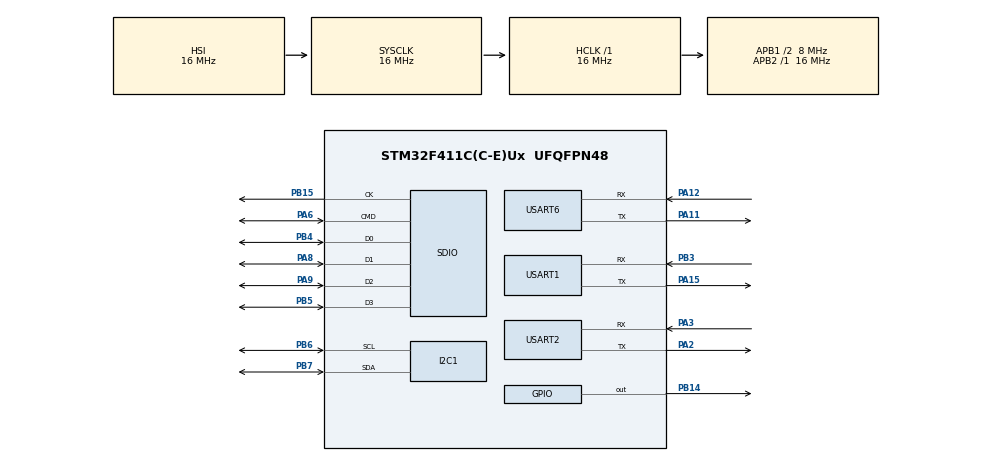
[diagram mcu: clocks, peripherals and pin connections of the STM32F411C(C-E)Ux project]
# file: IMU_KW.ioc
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Dma.Request0=SDIO_RX
Dma.Request1=SDIO_TX
Dma.Request2=USART2_RX
Dma.SDIO_RX.0.Direction=DMA_PERIPH_TO_MEMORY
Dma.SDIO_RX.0.FIFOMode=DMA_FIFOMODE_ENABLE
Dma.SDIO_RX.0.FIFOThreshold=DMA_FIFO_THRESHOLD_FULL
Dma.SDIO_RX.0.Instance=DMA2_Stream3
Dma.SDIO_RX.0.MemBurst=DMA_MBURST_INC4
Dma.SDIO_RX.0.MemDataAlignment=DMA_MDATAALIGN_WORD
Dma.SDIO_RX.0.MemInc=DMA_MINC_ENABLE
Dma.SDIO_RX.0.Mode=DMA_PFCTRL
Dma.SDIO_RX.0.PeriphBurst=DMA_PBURST_INC4
Dma.SDIO_RX.0.PeriphDataAlignment=DMA_PDATAALIGN_WORD
Dma.SDIO_RX.0.PeriphInc=DMA_PINC_DISABLE
Dma.SDIO_RX.0.Priority=DMA_PRIORITY_LOW
Dma.SDIO_TX.1.Direction=DMA_MEMORY_TO_PERIPH
Dma.SDIO_TX.1.FIFOMode=DMA_FIFOMODE_ENABLE
Dma.SDIO_TX.1.FIFOThreshold=DMA_FIFO_THRESHOLD_FULL
Dma.SDIO_TX.1.Instance=DMA2_Stream6
Dma.SDIO_TX.1.MemBurst=DMA_MBURST_INC4
Dma.SDIO_TX.1.MemDataAlignment=DMA_MDATAALIGN_WORD
Dma.SDIO_TX.1.MemInc=DMA_MINC_ENABLE
Dma.SDIO_TX.1.Mode=DMA_PFCTRL
Dma.SDIO_TX.1.PeriphBurst=DMA_PBURST_INC4
Dma.SDIO_TX.1.PeriphDataAlignment=DMA_PDATAALIGN_WORD
Dma.SDIO_TX.1.PeriphInc=DMA_PINC_DISABLE
Dma.SDIO_TX.1.Priority=DMA_PRIORITY_LOW
Dma.USART2_RX.2.Direction=DMA_PERIPH_TO_MEMORY
Dma.USART2_RX.2.FIFOMode=DMA_FIFOMODE_DISABLE
Dma.USART2_RX.2.Instance=DMA1_Stream5
Dma.USART2_RX.2.MemDataAlignment=DMA_MDATAALIGN_BYTE
Dma.USART2_RX.2.MemInc=DMA_MINC_ENABLE
Dma.USART2_RX.2.Mode=DMA_CIRCULAR
Dma.USART2_RX.2.PeriphDataAlignment=DMA_PDATAALIGN_BYTE
Dma.USART2_RX.2.PeriphInc=DMA_PINC_DISABLE
Dma.USART2_RX.2.Priority=DMA_PRIORITY_LOW
FATFS._MAX_SS=4096
FREERTOS.Tasks01=defaultTask,0,128,StartDefaultTask,Default,NULL
FREERTOS.configTICK_RATE_HZ=1000
Mcu.Family=STM32F4
Mcu.Name=STM32F411C(C-E)Ux
Mcu.Package=UFQFPN48
NVIC.DMA1_Stream5_IRQn=true\:5\:0\:false\:false\:true\:true\:false\:true
NVIC.DMA2_Stream3_IRQn=true\:5\:0\:false\:false\:true\:true\:false\:true
NVIC.DMA2_Stream6_IRQn=true\:5\:0\:false\:false\:true\:true\:false\:true
NVIC.PriorityGroup=NVIC_PRIORITYGROUP_4
NVIC.SDIO_IRQn=true\:5\:0\:false\:false\:true\:true\:true\:true
NVIC.TIM4_IRQn=true\:5\:0\:false\:false\:true\:true\:true\:true
NVIC.TIM5_IRQn=true\:0\:0\:false\:false\:true\:false\:false\:true
NVIC.TimeBase=TIM5_IRQn
NVIC.TimeBaseIP=TIM5
NVIC.USART1_IRQn=true\:5\:0\:false\:false\:true\:true\:true\:true
NVIC.USART2_IRQn=true\:5\:0\:false\:false\:true\:true\:true\:true
PA11.Mode=Asynchronous
PA11.Signal=USART6_TX
PA12.Mode=Asynchronous
PA12.Signal=USART6_RX
PA15.Mode=Asynchronous
PA15.Signal=USART1_TX
PA2.Mode=Asynchronous
PA2.Signal=USART2_TX
PA3.Mode=Asynchronous
PA3.Signal=USART2_RX
PA6.GPIO_PuPd=GPIO_PULLUP
PA6.Mode=SD_4_bits_Wide_bus
PA6.Signal=SDIO_CMD
PA8.GPIO_PuPd=GPIO_PULLUP
PA8.Mode=SD_4_bits_Wide_bus
PA8.Signal=SDIO_D1
PA9.GPIO_PuPd=GPIO_PULLUP
PA9.Mode=SD_4_bits_Wide_bus
PA9.Signal=SDIO_D2
PB14.Signal=GPIO_Output
PB15.Mode=SD_4_bits_Wide_bus
PB15.Signal=SDIO_CK
PB3.Mode=Asynchronous
PB3.Signal=USART1_RX
PB4.GPIO_PuPd=GPIO_PULLUP
PB4.Mode=SD_4_bits_Wide_bus
PB4.Signal=SDIO_D0
PB5.GPIO_PuPd=GPIO_PULLUP
PB5.Mode=SD_4_bits_Wide_bus
PB5.Signal=SDIO_D3
PB6.Mode=I2C
PB6.Signal=I2C1_SCL
PB7.Mode=I2C
PB7.Signal=I2C1_SDA
PH0\ -\ OSC_IN.Mode=HSE-External-Oscillator
PH0\ -\ OSC_IN.Signal=RCC_OSC_IN
PH1\ -\ OSC_OUT.Mode=HSE-External-Oscillator
PH1\ -\ OSC_OUT.Signal=RCC_OSC_OUT
ProjectManager.HeapSize=0x200
ProjectManager.StackSize=0x400
ProjectManager.TargetToolchain=MDK-ARM V5
RCC.48MHZClocksFreq_Value=42666666.666666664
RCC.AHBFreq_Value=16000000
RCC.APB1CLKDivider=RCC_HCLK_DIV2
RCC.APB1Freq_Value=8000000
RCC.APB1TimFreq_Value=16000000
RCC.APB2Freq_Value=16000000
RCC.APB2TimFreq_Value=16000000
RCC.CortexFreq_Value=16000000
RCC.HCLKFreq_Value=16000000
RCC.HSE_VALUE=8000000
RCC.HSI_VALUE=16000000
RCC.LSE_VALUE=32768
RCC.PLLM=8
RCC.PLLN=64
RCC.PLLQ=3
RCC.SYSCLKFreq_VALUE=16000000
RCC.VCOOutputFreq_Value=128000000
SDIO.ClockDiv=3
TIM4.Period=10-1
TIM4.Prescaler=1600-1
TIM4.TIM_MasterOutputTrigger=TIM_TRGO_UPDATE
USART1.VirtualMode=VM_ASYNC
USART2.VirtualMode=VM_ASYNC
USART6.VirtualMode=VM_ASYNC
VP_CRC_VS_CRC.Mode=CRC_Activate
VP_FATFS_VS_SDIO.Mode=SDIO
VP_FREERTOS_VS_CMSIS_V1.Mode=CMSIS_V1
VP_SYS_VS_tim5.Mode=TIM5
VP_TIM4_VS_ClockSourceINT.Mode=Internal
board=custom

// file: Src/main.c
/* USER CODE BEGIN Header */
/**
  ******************************************************************************
  * @file           : main.c
  * @brief          : Main program body
  ******************************************************************************
  * @attention
  *
  * <h2><center>&copy; Copyright (c) 2020 STMicroelectronics.
  * All rights reserved.</center></h2>
  *
  * This software component is licensed by ST under Ultimate Liberty license
  * SLA0044, the "License"; You may not use this file except in compliance with
  * the License. You may obtain a copy of the License at:
  *                             www.st.com/SLA0044
  *
  ******************************************************************************
  */
/* USER CODE END Header */

#include "main.h"
#include "cmsis_os.h"
#include "fatfs.h"

/* USER CODE BEGIN Includes */
#include <stdio.h>
#include <string.h>
#include <stdbool.h>
/* USER CODE END Includes */

/* USER CODE BEGIN PD */
	#define MPU9250_ADDRESS	0xD2
	#define AK8963_ADDRESS   0x0C<<1
	#define AK8963_ST1       0x02  // data ready status bit 0
	#define AK8963_XOUT_L    0x03  // data
	#define ACCEL_XOUT_H     0x3B
	#define GYRO_XOUT_H      0x43
	#define AK8963_CNTL      0x0A  // Power down (0000), single-measurement (0001), self-test (1000) and Fuse ROM (1111) modes on bits 3:0
	#define ACCEL_CONFIG     0x1C
	#define CONFIG           0x1A
	#define INT_PIN_CFG      0x37
	#define INT_ENABLE       0x38
	#define ACCEL_CONFIG2    0x1D
	#define GYRO_CONFIG      0x1B
	#define SMPLRT_DIV       0x19
	#define PWR_MGMT_1       0x6B // Device defaults to the SLEEP mode
	#define PWR_MGMT_2       0x6C
enum Ascale {
  AFS_2G = 0,
  AFS_4G,
  AFS_8G,
  AFS_16G
};
enum Gscale {
  GFS_250DPS = 0,
  GFS_500DPS,
  GFS_1000DPS,
  GFS_2000DPS
};

/* USER CODE END PD */

CRC_HandleTypeDef hcrc;

I2C_HandleTypeDef hi2c1;

SD_HandleTypeDef hsd;
DMA_HandleTypeDef hdma_sdio_rx;
DMA_HandleTypeDef hdma_sdio_tx;

TIM_HandleTypeDef htim4;

UART_HandleTypeDef huart1;
UART_HandleTypeDef huart2;
UART_HandleTypeDef huart6;
DMA_HandleTypeDef hdma_usart2_rx;

osThreadId defaultTaskHandle;

void SystemClock_Config(void);
static void MX_GPIO_Init(void);
static void MX_DMA_Init(void);
static void MX_USART1_UART_Init(void);
static void MX_USART2_UART_Init(void);
static void MX_SDIO_SD_Init(void);
static void MX_TIM4_Init(void);
static void MX_USART6_UART_Init(void);
static void MX_CRC_Init(void);
static void MX_I2C1_Init(void);
void StartDefaultTask(void const * argument);

/* USER CODE BEGIN 0 */
	int16_t acc_x,acc_y,acc_z;
	int16_t gy_x,gy_y,gy_z;
	int16_t mag_x,mag_y,mag_z;

	uint8_t txdata[24]; // FFFF ----  2 x 9 = 18 bytes ---- FFFE(4) + CRC(2) == 24 bytes
	uint8_t i2cBuf[7];
	uint8_t Imu_dataBuf[18] = {0,};

	//crc
	uint32_t crcArray[8] = {0,};
	uint32_t crcArrayt[8] = {0,};

	uint16_t crcval = 0;
	uint32_t crcval2 = 0;
	//test
	uint32_t crc_test =0;

	//SD card variables
	extern char SDPath[4];   /* SD logical drive path */
	extern FATFS SDFatFS;    /* File system object for SD logical drive */
	extern FIL SDFile;       /* File object for SD */

	//FILE I/O operation

	FRESULT res;                                          /* FatFs function common result code */
	uint32_t byteswritten, bytesread;                     /* File write/read counts */
	uint8_t wtext[] = "Hello from kyeum!"; 			      /* File write start buffer */
	uint8_t rtext[100];                                   /* File read buffer */

	FATFS myFATAS;
	FIL myFILE;
	UINT testByte; 										  // error detection
	bool datasave_flg = true;
	bool datatransmit_flg = true;

	//Timer
	uint16_t ms_tmr = 0;
	uint16_t _10ms_tmr = 0;
	uint16_t ms_sv_tmr = 0;
	bool _100ms_flg = false;
	bool _10ms_flg = false;
/* USER CODE END 0 */

int main(void)
{

  /* MCU Configuration--------------------------------------------------------*/

  /* Reset of all peripherals, Initializes the Flash interface and the Systick. */
  HAL_Init();

  /* Configure the system clock */
  SystemClock_Config();

  /* Initialize all configured peripherals */
  MX_GPIO_Init();
  MX_DMA_Init();
  MX_USART1_UART_Init();
  MX_USART2_UART_Init();
  MX_SDIO_SD_Init();
  MX_TIM4_Init();
  MX_USART6_UART_Init();
  MX_CRC_Init();
  MX_I2C1_Init();
  /* USER CODE BEGIN 2 */

  HAL_TIM_Base_Start_IT(&htim4);

  /* USER CODE END 2 */

  /* Create the thread(s) */
  /* definition and creation of defaultTask */
  osThreadDef(defaultTask, StartDefaultTask, osPriorityNormal, 0, 128);
  defaultTaskHandle = osThreadCreate(osThread(defaultTask), NULL);

  /* Start scheduler */
  osKernelStart();

  /* We should never get here as control is now taken by the scheduler */

  /* Infinite loop */
  while (1)
  {

  }
}

void SystemClock_Config(void)
{
  RCC_OscInitTypeDef RCC_OscInitStruct = {0};
  RCC_ClkInitTypeDef RCC_ClkInitStruct = {0};

  /** Configure the main internal regulator output voltage
  */
  __HAL_RCC_PWR_CLK_ENABLE();
  __HAL_PWR_VOLTAGESCALING_CONFIG(PWR_REGULATOR_VOLTAGE_SCALE1);
  /** Initializes the CPU, AHB and APB busses clocks
  */
  RCC_OscInitStruct.OscillatorType = RCC_OSCILLATORTYPE_HSI;
  RCC_OscInitStruct.HSIState = RCC_HSI_ON;
  RCC_OscInitStruct.HSICalibrationValue = RCC_HSICALIBRATION_DEFAULT;
  RCC_OscInitStruct.PLL.PLLState = RCC_PLL_ON;
  RCC_OscInitStruct.PLL.PLLSource = RCC_PLLSOURCE_HSI;
  RCC_OscInitStruct.PLL.PLLM = 8;
  RCC_OscInitStruct.PLL.PLLN = 64;
  RCC_OscInitStruct.PLL.PLLP = RCC_PLLP_DIV2;
  RCC_OscInitStruct.PLL.PLLQ = 3;
  if (HAL_RCC_OscConfig(&RCC_OscInitStruct) != HAL_OK)
  {
    Error_Handler();
  }
  /** Initializes the CPU, AHB and APB busses clocks
  */
  RCC_ClkInitStruct.ClockType = RCC_CLOCKTYPE_HCLK|RCC_CLOCKTYPE_SYSCLK
                              |RCC_CLOCKTYPE_PCLK1|RCC_CLOCKTYPE_PCLK2;
  RCC_ClkInitStruct.SYSCLKSource = RCC_SYSCLKSOURCE_HSI;
  RCC_ClkInitStruct.AHBCLKDivider = RCC_SYSCLK_DIV1;
  RCC_ClkInitStruct.APB1CLKDivider = RCC_HCLK_DIV2;
  RCC_ClkInitStruct.APB2CLKDivider = RCC_HCLK_DIV1;

  if (HAL_RCC_ClockConfig(&RCC_ClkInitStruct, FLASH_LATENCY_0) != HAL_OK)
  {
    Error_Handler();
  }
}

static void MX_CRC_Init(void)
{

  hcrc.Instance = CRC;
  if (HAL_CRC_Init(&hcrc) != HAL_OK)
  {
    Error_Handler();
  }

}

static void MX_I2C1_Init(void)
{

  hi2c1.Instance = I2C1;
  hi2c1.Init.ClockSpeed = 100000;
  hi2c1.Init.DutyCycle = I2C_DUTYCYCLE_2;
  hi2c1.Init.OwnAddress1 = 0;
  hi2c1.Init.AddressingMode = I2C_ADDRESSINGMODE_7BIT;
  hi2c1.Init.DualAddressMode = I2C_DUALADDRESS_DISABLE;
  hi2c1.Init.OwnAddress2 = 0;
  hi2c1.Init.GeneralCallMode = I2C_GENERALCALL_DISABLE;
  hi2c1.Init.NoStretchMode = I2C_NOSTRETCH_DISABLE;
  if (HAL_I2C_Init(&hi2c1) != HAL_OK)
  {
    Error_Handler();
  }

}

static void MX_SDIO_SD_Init(void)
{

  hsd.Instance = SDIO;
  hsd.Init.ClockEdge = SDIO_CLOCK_EDGE_RISING;
  hsd.Init.ClockBypass = SDIO_CLOCK_BYPASS_DISABLE;
  hsd.Init.ClockPowerSave = SDIO_CLOCK_POWER_SAVE_DISABLE;
  hsd.Init.BusWide = SDIO_BUS_WIDE_1B;
  hsd.Init.HardwareFlowControl = SDIO_HARDWARE_FLOW_CONTROL_DISABLE;
  hsd.Init.ClockDiv = 3;

}

static void MX_TIM4_Init(void)
{

  TIM_ClockConfigTypeDef sClockSourceConfig = {0};
  TIM_MasterConfigTypeDef sMasterConfig = {0};

  htim4.Instance = TIM4;
  htim4.Init.Prescaler = 1600-1;
  htim4.Init.CounterMode = TIM_COUNTERMODE_UP;
  htim4.Init.Period = 10-1;
  htim4.Init.ClockDivision = TIM_CLOCKDIVISION_DIV1;
  htim4.Init.AutoReloadPreload = TIM_AUTORELOAD_PRELOAD_DISABLE;
  if (HAL_TIM_Base_Init(&htim4) != HAL_OK)
  {
    Error_Handler();
  }
  sClockSourceConfig.ClockSource = TIM_CLOCKSOURCE_INTERNAL;
  if (HAL_TIM_ConfigClockSource(&htim4, &sClockSourceConfig) != HAL_OK)
  {
    Error_Handler();
  }
  sMasterConfig.MasterOutputTrigger = TIM_TRGO_UPDATE;
  sMasterConfig.MasterSlaveMode = TIM_MASTERSLAVEMODE_DISABLE;
  if (HAL_TIMEx_MasterConfigSynchronization(&htim4, &sMasterConfig) != HAL_OK)
  {
    Error_Handler();
  }

}

static void MX_USART1_UART_Init(void)
{

  huart1.Instance = USART1;
  huart1.Init.BaudRate = 115200;
  huart1.Init.WordLength = UART_WORDLENGTH_8B;
  huart1.Init.StopBits = UART_STOPBITS_1;
  huart1.Init.Parity = UART_PARITY_NONE;
  huart1.Init.Mode = UART_MODE_TX_RX;
  huart1.Init.HwFlowCtl = UART_HWCONTROL_NONE;
  huart1.Init.OverSampling = UART_OVERSAMPLING_16;
  if (HAL_UART_Init(&huart1) != HAL_OK)
  {
    Error_Handler();
  }

}

static void MX_USART2_UART_Init(void)
{

  huart2.Instance = USART2;
  huart2.Init.BaudRate = 115200;
  huart2.Init.WordLength = UART_WORDLENGTH_8B;
  huart2.Init.StopBits = UART_STOPBITS_1;
  huart2.Init.Parity = UART_PARITY_NONE;
  huart2.Init.Mode = UART_MODE_TX_RX;
  huart2.Init.HwFlowCtl = UART_HWCONTROL_NONE;
  huart2.Init.OverSampling = UART_OVERSAMPLING_16;
  if (HAL_UART_Init(&huart2) != HAL_OK)
  {
    Error_Handler();
  }

}

static void MX_USART6_UART_Init(void)
{

  huart6.Instance = USART6;
  huart6.Init.BaudRate = 115200;
  huart6.Init.WordLength = UART_WORDLENGTH_8B;
  huart6.Init.StopBits = UART_STOPBITS_1;
  huart6.Init.Parity = UART_PARITY_NONE;
  huart6.Init.Mode = UART_MODE_TX_RX;
  huart6.Init.HwFlowCtl = UART_HWCONTROL_NONE;
  huart6.Init.OverSampling = UART_OVERSAMPLING_16;
  if (HAL_UART_Init(&huart6) != HAL_OK)
  {
    Error_Handler();
  }

}

static void MX_DMA_Init(void)
{

  /* DMA controller clock enable */
  __HAL_RCC_DMA2_CLK_ENABLE();
  __HAL_RCC_DMA1_CLK_ENABLE();

  /* DMA interrupt init */
  /* DMA1_Stream5_IRQn interrupt configuration */
  HAL_NVIC_SetPriority(DMA1_Stream5_IRQn, 5, 0);
  HAL_NVIC_EnableIRQ(DMA1_Stream5_IRQn);
  /* DMA2_Stream3_IRQn interrupt configuration */
  HAL_NVIC_SetPriority(DMA2_Stream3_IRQn, 5, 0);
  HAL_NVIC_EnableIRQ(DMA2_Stream3_IRQn);
  /* DMA2_Stream6_IRQn interrupt configuration */
  HAL_NVIC_SetPriority(DMA2_Stream6_IRQn, 5, 0);
  HAL_NVIC_EnableIRQ(DMA2_Stream6_IRQn);

}

static void MX_GPIO_Init(void)
{
  GPIO_InitTypeDef GPIO_InitStruct = {0};

  /* GPIO Ports Clock Enable */
  __HAL_RCC_GPIOH_CLK_ENABLE();
  __HAL_RCC_GPIOA_CLK_ENABLE();
  __HAL_RCC_GPIOB_CLK_ENABLE();

  /*Configure GPIO pin Output Level */
  HAL_GPIO_WritePin(GPIOB, GPIO_PIN_14, GPIO_PIN_RESET);

  /*Configure GPIO pin : PB14 */
  GPIO_InitStruct.Pin = GPIO_PIN_14;
  GPIO_InitStruct.Mode = GPIO_MODE_OUTPUT_PP;
  GPIO_InitStruct.Pull = GPIO_NOPULL;
  GPIO_InitStruct.Speed = GPIO_SPEED_FREQ_LOW;
  HAL_GPIO_Init(GPIOB, &GPIO_InitStruct);

}

/* USER CODE BEGIN 4 */

 void initAK8963(float * destination)
{
  // First extract the factory calibration for each magnetometer axis
  //uint8_t rawData[3];  // x/y/z gyro calibration data stored here
  //writeByte(AK8963_ADDRESS, AK8963_CNTL, 0x00); // Power down magnetometer
  osDelay(10);

  //writeByte(AK8963_ADDRESS, AK8963_CNTL, 0x0F); // Enter Fuse ROM access mode
  osDelay(10);
  //readBytes(AK8963_ADDRESS, AK8963_ASAX, 3, &rawData[0]);  // Read the x-, y-, and z-axis calibration values
//  destination[0] =  (float)(rawData[0] - 128)/256.0f + 1.0f;   // Return x-axis sensitivity adjustment values, etc.
//  destination[1] =  (float)(rawData[1] - 128)/256.0f + 1.0f;
//  destination[2] =  (float)(rawData[2] - 128)/256.0f + 1.0f;
//  writeByte(AK8963_ADDRESS, AK8963_CNTL, 0x00); // Power down magnetometer
  osDelay(10);
  // Configure the magnetometer for continuous read and highest resolution
  // set Mscale bit 4 to 1 (0) to enable 16 (14) bit resolution in CNTL register,
  // and enable continuous mode data acquisition Mmode (bits [3:0]), 0010 for 8 Hz and 0110 for 100 Hz sample rates
  //writeByte(AK8963_ADDRESS, AK8963_CNTL, Mscale << 4 | Mmode); // Set magnetometer data resolution and sample ODR
  osDelay(10);
}

void initMPU9250()
{
 // Initialize MPU9250 device
 // wake up device
  //writeByte(MPU9250_ADDRESS, PWR_MGMT_1, 0x00); // Clear sleep mode bit (6), enable all sensors
	osDelay(100);
 // Delay 100 ms for PLL to get established on x-axis gyro; should check for PLL ready interrupt

 // get stable time source
  //writeByte(MPU9250_ADDRESS, PWR_MGMT_1, 0x01);  // Set clock source to be PLL with x-axis gyroscope reference, bits 2:0 = 001

 // Configure Gyro and Accelerometer
 // Disable FSYNC and set accelerometer and gyro bandwidth to 44 and 42 Hz, respectively;
 // DLPF_CFG = bits 2:0 = 010; this sets the sample rate at 1 kHz for both
 // Maximum delay is 4.9 ms which is just over a 200 Hz maximum rate
  //writeByte(MPU9250_ADDRESS, CONFIG, 0x03);

 // Set sample rate = gyroscope output rate/(1 + SMPLRT_DIV)
 // writeByte(MPU9250_ADDRESS, SMPLRT_DIV, 0x04);  // Use a 200 Hz rate; the same rate set in CONFIG above

 // Set gyroscope full scale range
 // Range selects FS_SEL and AFS_SEL are 0 - 3, so 2-bit values are left-shifted into positions 4:3
  //uint8_t c = readByte(MPU9250_ADDRESS, GYRO_CONFIG); // get current GYRO_CONFIG register value
 // c = c & ~0xE0; // Clear self-test bits [7:5]
 // c = c & ~0x02; // Clear Fchoice bits [1:0]
 // c = c & ~0x18; // Clear AFS bits [4:3]
 // c = c | Gscale << 3; // Set full scale range for the gyro
 // c =| 0x00; // Set Fchoice for the gyro to 11 by writing its inverse to bits 1:0 of GYRO_CONFIG
 // writeByte(MPU9250_ADDRESS, GYRO_CONFIG, c ); // Write new GYRO_CONFIG value to register

 // Set accelerometer full-scale range configuration
 // c = readByte(MPU9250_ADDRESS, ACCEL_CONFIG); // get current ACCEL_CONFIG register value
 // c = c & ~0xE0; // Clear self-test bits [7:5]
 // c = c & ~0x18;  // Clear AFS bits [4:3]
 // c = c | Ascale << 3; // Set full scale range for the accelerometer
 // writeByte(MPU9250_ADDRESS, ACCEL_CONFIG, c); // Write new ACCEL_CONFIG register value

 // Set accelerometer sample rate configuration
 // It is possible to get a 4 kHz sample rate from the accelerometer by choosing 1 for
 // accel_fchoice_b bit [3]; in this case the bandwidth is 1.13 kHz
  //c = readByte(MPU9250_ADDRESS, ACCEL_CONFIG2); // get current ACCEL_CONFIG2 register value
  //c = c & ~0x0F; // Clear accel_fchoice_b (bit 3) and A_DLPFG (bits [2:0])
  //c = c | 0x03;  // Set accelerometer rate to 1 kHz and bandwidth to 41 Hz
  //writeByte(MPU9250_ADDRESS, ACCEL_CONFIG2, c); // Write new ACCEL_CONFIG2 register value

 // The accelerometer, gyro, and thermometer are set to 1 kHz sample rates,
 // but all these rates are further reduced by a factor of 5 to 200 Hz because of the SMPLRT_DIV setting

  // Configure Interrupts and Bypass Enable
  // Set interrupt pin active high, push-pull, and clear on read of INT_STATUS, enable I2C_BYPASS_EN so additional chips
  // can join the I2C bus and all can be controlled by the Arduino as master
   //writeByte(MPU9250_ADDRESS, INT_PIN_CFG, 0x22);
  // writeByte(MPU9250_ADDRESS, INT_ENABLE, 0x01);  // Enable data ready (bit 0) interrupt
}

void HAL_UART_TxCpltCallback(UART_HandleTypeDef *huart)
{
  /* Prevent unused argument(s) compilation warning */
	if(huart->Instance == USART2){

	//HAL_GPIO_TogglePin(GPIOB,GPIO_PIN_14); // 200ms Orange BLINKING
	datatransmit_flg = true;
	}
	/* NOTE: This function should not be modified, when the callback is needed,
           the HAL_UART_TxCpltCallback could be implemented in the user file
	*/
}

/* USER CODE END 4 */

void StartDefaultTask(void const * argument)
{

  /* init code for FATFS */
  MX_FATFS_Init();

  /* USER CODE BEGIN 5 */

	f_mount(&SDFatFS, (TCHAR const*)SDPath, 1);

	char testname[20];
	char filetxt[5] = ".txt"; // directory
	f_mkdir(testname);
	//strcat(testnum,filetxt);

	if(f_open(&SDFile, "test.txt", FA_CREATE_ALWAYS | FA_WRITE )== FR_OK){
		HAL_GPIO_TogglePin(GPIOB,GPIO_PIN_14);
		osDelay(500);
		HAL_GPIO_TogglePin(GPIOB,GPIO_PIN_14);
	}
	else{
		HAL_GPIO_TogglePin(GPIOB,GPIO_PIN_14);
		osDelay(2000);
		HAL_GPIO_TogglePin(GPIOB,GPIO_PIN_14);
		}

  /*<------------------ find ID for the I2C devices
  	for(uint8_t i=0; i<255; i++)
	{
		if(HAL_I2C_IsDeviceReady(&hi2c1, i, 1, 10) == HAL_OK)
		{
			HAL_GPIO_TogglePin(GPIOD, GPIO_PIN_14);
			break;
		}
	}------------------>*/
 // /*< -- initialize mpu9250 && AK8963

	initMPU9250();
	//initAK8963(&mag_x);

//--------------*/

  /* Infinite loop */
  for(;;)
  {
	i2cBuf[0] = ACCEL_XOUT_H;  //Register address: X_axis H in accel
	HAL_I2C_Master_Transmit(&hi2c1, MPU9250_ADDRESS, i2cBuf, 1, 1); // data write for the reading specific address
	i2cBuf[1] = 0x00;
	HAL_I2C_Master_Receive(&hi2c1, MPU9250_ADDRESS, &i2cBuf[1], 6, 10); // Data receive sequencing from i2cBuf[1]
		acc_x = -(i2cBuf[1]<<8 | i2cBuf[2]);
		acc_y = -(i2cBuf[3]<<8 | i2cBuf[4]);
		acc_z =  (i2cBuf[5]<<8 | i2cBuf[6]);
	memcpy(&Imu_dataBuf[0], &i2cBuf[1], 6);
	memset(i2cBuf, 0 , 7*sizeof(i2cBuf[0]));

	i2cBuf[0] = GYRO_XOUT_H;  //Register address: X_axis H in gyro
	HAL_I2C_Master_Transmit(&hi2c1, MPU9250_ADDRESS, i2cBuf, 1, 1);
	i2cBuf[1] = 0x00;
	HAL_I2C_Master_Receive(&hi2c1, MPU9250_ADDRESS, &i2cBuf[1], 6, 10);

		gy_x = -(i2cBuf[1]<<8 | i2cBuf[2]);
		gy_y = -(i2cBuf[3]<<8 | i2cBuf[4]);
		gy_z =  (i2cBuf[5]<<8 | i2cBuf[6]);
	memcpy(&Imu_dataBuf[6], &i2cBuf[1], 6);
	memset(i2cBuf, 0 , 7*sizeof(i2cBuf[0]));

	i2cBuf[0] = AK8963_ST1;  //Register address: X_axis status
	HAL_I2C_Master_Transmit(&hi2c1, AK8963_ADDRESS, i2cBuf, 1, 1);

	if(HAL_I2C_Master_Receive(&hi2c1, AK8963_ADDRESS, &i2cBuf[0], 1, 1)&0x01){
	i2cBuf[0] = AK8963_XOUT_L;  //Register address: X_axis L in mag
	HAL_I2C_Master_Receive(&hi2c1, AK8963_ADDRESS, &i2cBuf[1], 6, 1);
	uint8_t c = i2cBuf[6]; // End data read by reading ST2 register
		if(!(c & 0x08)) { // Check if magnetic sensor overflow set, if not then report data
		mag_x = (int16_t)(((int16_t)i2cBuf[1] << 8) | i2cBuf[0]);  // Turn the MSB and LSB into a signed 16-bit value
		mag_y = (int16_t)(((int16_t)i2cBuf[3] << 8) | i2cBuf[2]) ;  // Data stored as little Endian
		mag_z = (int16_t)(((int16_t)i2cBuf[5] << 8) | i2cBuf[4]) ;

		memcpy(&Imu_dataBuf[12], &i2cBuf[1], 6);
		memset(i2cBuf, 0 , 7*sizeof(i2cBuf[0]));
	}
   }
   // data transmit to other boards!
   txdata[0] = 0xFF;txdata[1] = 0xFF;
   memcpy(&txdata[2], &Imu_dataBuf[0], 18);

   //crc reset

   // Imu_databuff -> 32uart data set
   txdata[20] = 0;
   txdata[21] = 0;
    memset(crcArray,0,8*sizeof(crcArray[0]));
   	memcpy(&crcArray[0],&txdata[2] , 18);

   crcval = HAL_CRC_Calculate(&hcrc,crcArray,5)& 0xffff;
   txdata[20] = crcval >> 8;
   txdata[21] = crcval & 0xff;

   txdata[22] = 0xFF;txdata[23] = 0xFE;

//   	if(datasave_flg){
//	for(int i =0; i<24; i++) {
//	f_printf(&SDFile, "%02x", txdata[i]);
//	}
//	f_printf(&SDFile, "\n");

//	}
//	else
//	{
//		f_close(&SDFile);
//	}
//
	if(_10ms_flg){
		_10ms_flg = false;
	if(datatransmit_flg){
	HAL_UART_Transmit_IT(&huart2,txdata,24);
	datatransmit_flg = false;
	}
}
	//osDelay(1);

  }
  /* USER CODE END 5 */
}

void HAL_TIM_PeriodElapsedCallback(TIM_HandleTypeDef *htim)
{
  if (htim->Instance == TIM5) {
    HAL_IncTick();
  }
  /* USER CODE BEGIN Callback 1 */
  	if(htim ->Instance  == TIM4){
		ms_tmr ++;
		_10ms_tmr++;
		ms_sv_tmr ++;
		if(ms_tmr % 10 == 0){
			//_100ms_flg = true;
			_10ms_flg = true;
			ms_sv_tmr++;
			ms_tmr = 0;
		}
		if(_10ms_tmr % 100 == 0){
			_10ms_tmr = 0;
			_100ms_flg = true;
			if(!datasave_flg) HAL_GPIO_TogglePin(GPIOB,GPIO_PIN_14); // 200ms Orange BLINKING
		}

		if(ms_sv_tmr % 10000 == 0){ // 10sec later - date
			datasave_flg = false;

			ms_sv_tmr = 0;
		}

	// save data 10sec
	}
  /* USER CODE END Callback 1 */
}

void Error_Handler(void)
{
}

/************************ (C) COPYRIGHT STMicroelectronics *****END OF FILE****/
